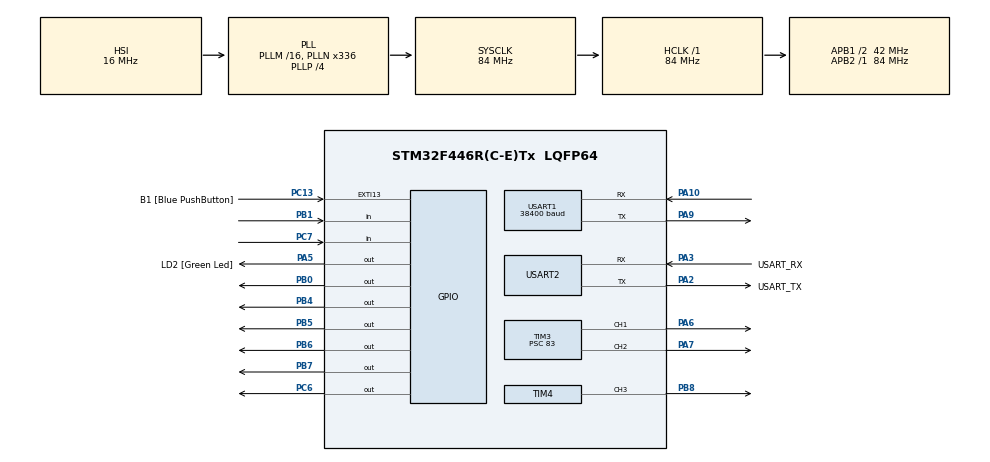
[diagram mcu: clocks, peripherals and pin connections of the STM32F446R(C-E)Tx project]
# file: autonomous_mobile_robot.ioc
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Mcu.Family=STM32F4
Mcu.Name=STM32F446R(C-E)Tx
Mcu.Package=LQFP64
NVIC.PriorityGroup=NVIC_PRIORITYGROUP_0
PA10.Mode=Asynchronous
PA10.Signal=USART1_RX
PA13.GPIO_Label=TMS
PA13.Mode=Serial_Wire
PA13.Signal=SYS_JTMS-SWDIO
PA14.GPIO_Label=TCK
PA14.Mode=Serial_Wire
PA14.Signal=SYS_JTCK-SWCLK
PA2.GPIO_Label=USART_TX
PA2.Mode=Asynchronous
PA2.Signal=USART2_TX
PA3.GPIO_Label=USART_RX
PA3.Mode=Asynchronous
PA3.Signal=USART2_RX
PA5.GPIO_Label=LD2 [Green Led]
PA5.Signal=GPIO_Output
PA6.Signal=S_TIM3_CH1
PA7.Signal=S_TIM3_CH2
PA9.Mode=Asynchronous
PA9.Signal=USART1_TX
PB0.Signal=GPIO_Output
PB1.Signal=GPIO_Input
PB3.GPIO_Label=SWO
PB3.Signal=SYS_JTDO-SWO
PB4.Signal=GPIO_Output
PB5.Signal=GPIO_Output
PB6.Signal=GPIO_Output
PB7.Signal=GPIO_Output
PB8.Signal=S_TIM4_CH3
PC13.GPIO_Label=B1 [Blue PushButton]
PC13.GPIO_ModeDefaultEXTI=GPIO_MODE_IT_FALLING
PC13.Signal=GPXTI13
PC14-OSC32_IN.Mode=LSE-External-Oscillator
PC14-OSC32_IN.Signal=RCC_OSC32_IN
PC15-OSC32_OUT.Mode=LSE-External-Oscillator
PC15-OSC32_OUT.Signal=RCC_OSC32_OUT
PC6.Signal=GPIO_Output
PC7.Signal=GPIO_Input
PH0-OSC_IN.Mode=HSE-External-Oscillator
PH0-OSC_IN.Signal=RCC_OSC_IN
PH1-OSC_OUT.Mode=HSE-External-Oscillator
PH1-OSC_OUT.Signal=RCC_OSC_OUT
ProjectManager.HeapSize=0x200
ProjectManager.StackSize=0x400
ProjectManager.TargetToolchain=STM32CubeIDE
RCC.48MHZClocksFreq_Value=84000000
RCC.AHBFreq_Value=84000000
RCC.APB1CLKDivider=RCC_HCLK_DIV2
RCC.APB1Freq_Value=42000000
RCC.APB1TimFreq_Value=84000000
RCC.APB2Freq_Value=84000000
RCC.APB2TimFreq_Value=84000000
RCC.CortexFreq_Value=84000000
RCC.FLatency-AdvancedSettings=FLASH_LATENCY_2
RCC.HCLKFreq_Value=84000000
RCC.HSE_VALUE=8000000
RCC.HSI_VALUE=16000000
RCC.PLLN=336
RCC.PLLP=RCC_PLLP_DIV4
RCC.SYSCLKFreq_VALUE=84000000
RCC.SYSCLKSource=RCC_SYSCLKSOURCE_PLLCLK
RCC.USBFreq_Value=168000000
RCC.VCOOutputFreq_Value=336000000
SH.S_TIM3_CH1.0=TIM3_CH1,PWM Generation1 CH1
SH.S_TIM3_CH2.0=TIM3_CH2,PWM Generation2 CH2
SH.S_TIM4_CH3.0=TIM4_CH3,PWM Generation3 CH3
TIM1.Prescaler=83
TIM3.Channel-PWM\ Generation1\ CH1=TIM_CHANNEL_1
TIM3.Channel-PWM\ Generation2\ CH2=TIM_CHANNEL_2
TIM3.Period=999
TIM3.Prescaler=83
TIM4.Channel-PWM\ Generation3\ CH3=TIM_CHANNEL_3
TIM4.Period=19999
TIM4.Prescaler=83
TIM4.Pulse-PWM\ Generation3\ CH3=1499
USART1.BaudRate=38400
USART1.VirtualMode=VM_ASYNC
USART2.VirtualMode=VM_ASYNC
VP_TIM1_VS_ClockSourceINT.Mode=Internal
VP_TIM3_VS_ClockSourceINT.Mode=Internal
VP_TIM4_VS_ClockSourceINT.Mode=Internal
board=NUCLEO-F446RE

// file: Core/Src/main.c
/* USER CODE BEGIN Header */
/**
  ******************************************************************************
  * @file           : main.c
  * @brief          : Autonomous Mobile Robot - Main Application
  ******************************************************************************
  */
/* USER CODE END Header */

#include "main.h"

/* USER CODE BEGIN Includes */
#include <stdio.h>
#include <string.h>
#include "ultrasonic.h"
#include "flame_sensor.h"
#include "buzzer.h"
#include "motor.h"
#include "servo.h"
#include "we10.h"
/* USER CODE END Includes */

TIM_HandleTypeDef htim1;
TIM_HandleTypeDef htim3;
TIM_HandleTypeDef htim4;
UART_HandleTypeDef huart1;
UART_HandleTypeDef huart2;

void SystemClock_Config(void);
static void MX_GPIO_Init(void);
static void MX_USART2_UART_Init(void);
static void MX_TIM1_Init(void);
static void MX_TIM3_Init(void);
static void MX_TIM4_Init(void);
static void MX_USART1_UART_Init(void);

/* USER CODE BEGIN PFP */
static void Robot_HandleObstacle(void);
static void Robot_PublishData(uint32_t distance_cm, uint8_t flame);
/* USER CODE END PFP */

/* USER CODE BEGIN 0 */

/* Obstacle avoidance sequence:
 * Stop → Buzzer beep → Turn right → Forward */
static void Robot_HandleObstacle(void)
{
    char log_buf[64];

    /* 1. Stop */
    Motor_Stop();
    sprintf(log_buf, "[ROBOT] Obstacle! Motor: %s\r\n", Motor_GetStatus());
    WE10_Log(log_buf);

    /* 2. Buzzer on for 2 seconds */
    Buzzer_Beep(2000);

    /* 3. Turn right for 600ms to rotate away */
    Motor_Turn_Right(MOTOR_TURN_SPEED);
    sprintf(log_buf, "[ROBOT] Motor: %s\r\n", Motor_GetStatus());
    WE10_Log(log_buf);
    HAL_Delay(600);

    /* 4. Resume forward */
    Motor_Forward(MOTOR_DEFAULT_SPEED);
    sprintf(log_buf, "[ROBOT] Motor: %s\r\n", Motor_GetStatus());
    WE10_Log(log_buf);
}

/* Publish sensor data and motor status to TeraTerm + Rightech cloud */
static void Robot_PublishData(uint32_t distance_cm, uint8_t flame)
{
    char buf[64];
    char val[16];

    /* --- TeraTerm log --- */
    sprintf(buf, "[SENSOR] Distance: %lucm | Flame: %s | Motor: %s\r\n",
            distance_cm,
            flame ? "DETECTED" : "None",
            Motor_GetStatus());
    WE10_Log(buf);

    /* --- Rightech MQTT publish --- */
    /* Ultrasonic distance */
    sprintf(val, "%lu", distance_cm);
    WE10_MQTT_Publish(TOPIC_ULTRASONIC, val);

    /* Flame status */
    WE10_MQTT_Publish(TOPIC_FLAME, flame ? "1" : "0");

    /* Motor status */
    WE10_MQTT_Publish(TOPIC_MOTOR, Motor_GetStatus());
}

/* USER CODE END 0 */

int main(void)
{

  HAL_Init();

  SystemClock_Config();

  MX_GPIO_Init();
  MX_USART2_UART_Init();
  MX_TIM1_Init();
  MX_TIM3_Init();
  MX_TIM4_Init();
  MX_USART1_UART_Init();

  /* USER CODE BEGIN 2 */

  /* --- Module initialisation --- */
  Ultrasonic_Init(&htim1);
  Flame_Init();
  Buzzer_Init();
  Motor_Init(&htim3);
  Servo_Init(&htim4);

  /* --- WiFi + MQTT --- */
  WE10_Init(&huart1, &huart2, "LiTCHT", "blake123");
  WE10_MQTT_Init();

  /* Start moving forward */
  Motor_Forward(MOTOR_DEFAULT_SPEED);
  WE10_Log("[ROBOT] System ready. Moving forward.\r\n");

  /* USER CODE END 2 */

  /* Infinite loop */
  /* USER CODE BEGIN WHILE */
  while (1)
  {
      /* 1. Read sensors */
      uint32_t distance = Ultrasonic_Read_cm();
      uint8_t  flame    = Flame_Detected();

      /* 2. Flame alert */
      if (flame)
      {
          Motor_Stop();
          Buzzer_On();
          WE10_Log("[ALERT] Flame detected! Stopped.\r\n");
      }
      else
      {
          Buzzer_Off();
      }

      /* 3. Obstacle avoidance (only if no flame) */
      if (!flame && Ultrasonic_ObstacleDetected())
      {
          Robot_HandleObstacle();
      }

      /* 4. Servo sweep for camera view */
      Servo_Sweep();

      /* 5. Publish data */
      Robot_PublishData(distance, flame);

      HAL_Delay(100);

    /* USER CODE END WHILE */
  }
}

void SystemClock_Config(void)
{
  RCC_OscInitTypeDef RCC_OscInitStruct = {0};
  RCC_ClkInitTypeDef RCC_ClkInitStruct = {0};

  __HAL_RCC_PWR_CLK_ENABLE();
  __HAL_PWR_VOLTAGESCALING_CONFIG(PWR_REGULATOR_VOLTAGE_SCALE3);

  RCC_OscInitStruct.OscillatorType = RCC_OSCILLATORTYPE_HSI;
  RCC_OscInitStruct.HSIState = RCC_HSI_ON;
  RCC_OscInitStruct.HSICalibrationValue = RCC_HSICALIBRATION_DEFAULT;
  RCC_OscInitStruct.PLL.PLLState = RCC_PLL_ON;
  RCC_OscInitStruct.PLL.PLLSource = RCC_PLLSOURCE_HSI;
  RCC_OscInitStruct.PLL.PLLM = 16;
  RCC_OscInitStruct.PLL.PLLN = 336;
  RCC_OscInitStruct.PLL.PLLP = RCC_PLLP_DIV4;
  RCC_OscInitStruct.PLL.PLLQ = 2;
  RCC_OscInitStruct.PLL.PLLR = 2;
  if (HAL_RCC_OscConfig(&RCC_OscInitStruct) != HAL_OK) Error_Handler();

  RCC_ClkInitStruct.ClockType = RCC_CLOCKTYPE_HCLK|RCC_CLOCKTYPE_SYSCLK
                              |RCC_CLOCKTYPE_PCLK1|RCC_CLOCKTYPE_PCLK2;
  RCC_ClkInitStruct.SYSCLKSource = RCC_SYSCLKSOURCE_PLLCLK;
  RCC_ClkInitStruct.AHBCLKDivider = RCC_SYSCLK_DIV1;
  RCC_ClkInitStruct.APB1CLKDivider = RCC_HCLK_DIV2;
  RCC_ClkInitStruct.APB2CLKDivider = RCC_HCLK_DIV1;
  if (HAL_RCC_ClockConfig(&RCC_ClkInitStruct, FLASH_LATENCY_2) != HAL_OK) Error_Handler();
}

static void MX_TIM1_Init(void)
{
  TIM_ClockConfigTypeDef sClockSourceConfig = {0};
  TIM_MasterConfigTypeDef sMasterConfig = {0};

  htim1.Instance = TIM1;
  htim1.Init.Prescaler = 83;
  htim1.Init.CounterMode = TIM_COUNTERMODE_UP;
  htim1.Init.Period = 65535;
  htim1.Init.ClockDivision = TIM_CLOCKDIVISION_DIV1;
  htim1.Init.RepetitionCounter = 0;
  htim1.Init.AutoReloadPreload = TIM_AUTORELOAD_PRELOAD_DISABLE;
  if (HAL_TIM_Base_Init(&htim1) != HAL_OK) Error_Handler();
  sClockSourceConfig.ClockSource = TIM_CLOCKSOURCE_INTERNAL;
  if (HAL_TIM_ConfigClockSource(&htim1, &sClockSourceConfig) != HAL_OK) Error_Handler();
  sMasterConfig.MasterOutputTrigger = TIM_TRGO_RESET;
  sMasterConfig.MasterSlaveMode = TIM_MASTERSLAVEMODE_DISABLE;
  if (HAL_TIMEx_MasterConfigSynchronization(&htim1, &sMasterConfig) != HAL_OK) Error_Handler();
}

static void MX_TIM3_Init(void)
{
  TIM_ClockConfigTypeDef sClockSourceConfig = {0};
  TIM_MasterConfigTypeDef sMasterConfig = {0};
  TIM_OC_InitTypeDef sConfigOC = {0};

  htim3.Instance = TIM3;
  htim3.Init.Prescaler = 83;
  htim3.Init.CounterMode = TIM_COUNTERMODE_UP;
  htim3.Init.Period = 999;
  htim3.Init.ClockDivision = TIM_CLOCKDIVISION_DIV1;
  htim3.Init.AutoReloadPreload = TIM_AUTORELOAD_PRELOAD_DISABLE;
  if (HAL_TIM_Base_Init(&htim3) != HAL_OK) Error_Handler();
  sClockSourceConfig.ClockSource = TIM_CLOCKSOURCE_INTERNAL;
  if (HAL_TIM_ConfigClockSource(&htim3, &sClockSourceConfig) != HAL_OK) Error_Handler();
  if (HAL_TIM_PWM_Init(&htim3) != HAL_OK) Error_Handler();
  sMasterConfig.MasterOutputTrigger = TIM_TRGO_RESET;
  sMasterConfig.MasterSlaveMode = TIM_MASTERSLAVEMODE_DISABLE;
  if (HAL_TIMEx_MasterConfigSynchronization(&htim3, &sMasterConfig) != HAL_OK) Error_Handler();
  sConfigOC.OCMode = TIM_OCMODE_PWM1;
  sConfigOC.Pulse = 0;
  sConfigOC.OCPolarity = TIM_OCPOLARITY_HIGH;
  sConfigOC.OCFastMode = TIM_OCFAST_DISABLE;
  if (HAL_TIM_PWM_ConfigChannel(&htim3, &sConfigOC, TIM_CHANNEL_1) != HAL_OK) Error_Handler();
  if (HAL_TIM_PWM_ConfigChannel(&htim3, &sConfigOC, TIM_CHANNEL_2) != HAL_OK) Error_Handler();
  HAL_TIM_MspPostInit(&htim3);
}

static void MX_TIM4_Init(void)
{
  TIM_ClockConfigTypeDef sClockSourceConfig = {0};
  TIM_MasterConfigTypeDef sMasterConfig = {0};
  TIM_OC_InitTypeDef sConfigOC = {0};

  htim4.Instance = TIM4;
  htim4.Init.Prescaler = 83;
  htim4.Init.CounterMode = TIM_COUNTERMODE_UP;
  htim4.Init.Period = 19999;
  htim4.Init.ClockDivision = TIM_CLOCKDIVISION_DIV1;
  htim4.Init.AutoReloadPreload = TIM_AUTORELOAD_PRELOAD_DISABLE;
  if (HAL_TIM_Base_Init(&htim4) != HAL_OK) Error_Handler();
  sClockSourceConfig.ClockSource = TIM_CLOCKSOURCE_INTERNAL;
  if (HAL_TIM_ConfigClockSource(&htim4, &sClockSourceConfig) != HAL_OK) Error_Handler();
  if (HAL_TIM_PWM_Init(&htim4) != HAL_OK) Error_Handler();
  sMasterConfig.MasterOutputTrigger = TIM_TRGO_RESET;
  sMasterConfig.MasterSlaveMode = TIM_MASTERSLAVEMODE_DISABLE;
  if (HAL_TIMEx_MasterConfigSynchronization(&htim4, &sMasterConfig) != HAL_OK) Error_Handler();
  sConfigOC.OCMode = TIM_OCMODE_PWM1;
  sConfigOC.Pulse = 1499;
  sConfigOC.OCPolarity = TIM_OCPOLARITY_HIGH;
  sConfigOC.OCFastMode = TIM_OCFAST_DISABLE;
  if (HAL_TIM_PWM_ConfigChannel(&htim4, &sConfigOC, TIM_CHANNEL_3) != HAL_OK) Error_Handler();
  HAL_TIM_MspPostInit(&htim4);
}

static void MX_USART1_UART_Init(void)
{
  huart1.Instance = USART1;
  huart1.Init.BaudRate = 38400;
  huart1.Init.WordLength = UART_WORDLENGTH_8B;
  huart1.Init.StopBits = UART_STOPBITS_1;
  huart1.Init.Parity = UART_PARITY_NONE;
  huart1.Init.Mode = UART_MODE_TX_RX;
  huart1.Init.HwFlowCtl = UART_HWCONTROL_NONE;
  huart1.Init.OverSampling = UART_OVERSAMPLING_16;
  if (HAL_UART_Init(&huart1) != HAL_OK) Error_Handler();
}

static void MX_USART2_UART_Init(void)
{
  huart2.Instance = USART2;
  huart2.Init.BaudRate = 115200;
  huart2.Init.WordLength = UART_WORDLENGTH_8B;
  huart2.Init.StopBits = UART_STOPBITS_1;
  huart2.Init.Parity = UART_PARITY_NONE;
  huart2.Init.Mode = UART_MODE_TX_RX;
  huart2.Init.HwFlowCtl = UART_HWCONTROL_NONE;
  huart2.Init.OverSampling = UART_OVERSAMPLING_16;
  if (HAL_UART_Init(&huart2) != HAL_OK) Error_Handler();
}

static void MX_GPIO_Init(void)
{
  GPIO_InitTypeDef GPIO_InitStruct = {0};

  __HAL_RCC_GPIOC_CLK_ENABLE();
  __HAL_RCC_GPIOH_CLK_ENABLE();
  __HAL_RCC_GPIOA_CLK_ENABLE();
  __HAL_RCC_GPIOB_CLK_ENABLE();

  HAL_GPIO_WritePin(LD2_GPIO_Port, LD2_Pin, GPIO_PIN_RESET);
  HAL_GPIO_WritePin(GPIOB, GPIO_PIN_0|GPIO_PIN_4|GPIO_PIN_5|GPIO_PIN_6|GPIO_PIN_7, GPIO_PIN_RESET);
  HAL_GPIO_WritePin(GPIOC, GPIO_PIN_6, GPIO_PIN_RESET);

  GPIO_InitStruct.Pin = B1_Pin;
  GPIO_InitStruct.Mode = GPIO_MODE_IT_FALLING;
  GPIO_InitStruct.Pull = GPIO_NOPULL;
  HAL_GPIO_Init(B1_GPIO_Port, &GPIO_InitStruct);

  GPIO_InitStruct.Pin = LD2_Pin;
  GPIO_InitStruct.Mode = GPIO_MODE_OUTPUT_PP;
  GPIO_InitStruct.Pull = GPIO_NOPULL;
  GPIO_InitStruct.Speed = GPIO_SPEED_FREQ_LOW;
  HAL_GPIO_Init(LD2_GPIO_Port, &GPIO_InitStruct);

  /* PB0=TRIG, PB4=IN1, PB5=IN2, PB6=IN3, PB7=IN4 */
  GPIO_InitStruct.Pin = GPIO_PIN_0|GPIO_PIN_4|GPIO_PIN_5|GPIO_PIN_6|GPIO_PIN_7;
  GPIO_InitStruct.Mode = GPIO_MODE_OUTPUT_PP;
  GPIO_InitStruct.Pull = GPIO_NOPULL;
  GPIO_InitStruct.Speed = GPIO_SPEED_FREQ_LOW;
  HAL_GPIO_Init(GPIOB, &GPIO_InitStruct);

  /* PB1=ECHO */
  GPIO_InitStruct.Pin = GPIO_PIN_1;
  GPIO_InitStruct.Mode = GPIO_MODE_INPUT;
  GPIO_InitStruct.Pull = GPIO_NOPULL;
  HAL_GPIO_Init(GPIOB, &GPIO_InitStruct);

  /* PC6=BUZZER */
  GPIO_InitStruct.Pin = GPIO_PIN_6;
  GPIO_InitStruct.Mode = GPIO_MODE_OUTPUT_PP;
  GPIO_InitStruct.Pull = GPIO_NOPULL;
  GPIO_InitStruct.Speed = GPIO_SPEED_FREQ_LOW;
  HAL_GPIO_Init(GPIOC, &GPIO_InitStruct);

  /* PC7=FLAME SENSOR */
  GPIO_InitStruct.Pin = GPIO_PIN_7;
  GPIO_InitStruct.Mode = GPIO_MODE_INPUT;
  GPIO_InitStruct.Pull = GPIO_NOPULL;
  HAL_GPIO_Init(GPIOC, &GPIO_InitStruct);
}

void Error_Handler(void)
{
  __disable_irq();
  while (1) {}
}
